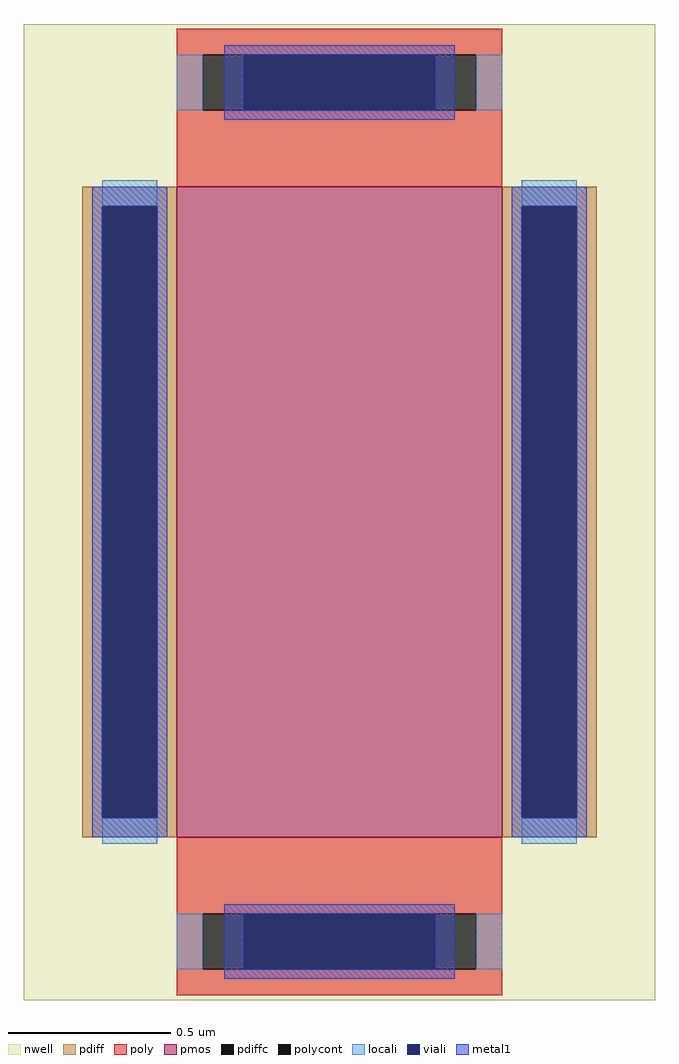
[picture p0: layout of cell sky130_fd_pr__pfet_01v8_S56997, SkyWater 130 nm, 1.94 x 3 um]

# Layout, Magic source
magic
tech sky130A
magscale 1 2
<< nwell >>
rect -194 -300 194 300
<< pmos >>
rect -100 -200 100 200
<< pdiff >>
rect -158 188 -100 200
rect -158 -188 -146 188
rect -112 -188 -100 188
rect -158 -200 -100 -188
rect 100 188 158 200
rect 100 -188 112 188
rect 146 -188 158 188
rect 100 -200 158 -188
<< pdiffc >>
rect -146 -188 -112 188
rect 112 -188 146 188
<< poly >>
rect -100 281 100 297
rect -100 247 -84 281
rect 84 247 100 281
rect -100 200 100 247
rect -100 -247 100 -200
rect -100 -281 -84 -247
rect 84 -281 100 -247
rect -100 -297 100 -281
<< polycont >>
rect -84 247 84 281
rect -84 -281 84 -247
<< locali >>
rect -100 247 -84 281
rect 84 247 100 281
rect -146 188 -112 204
rect -146 -204 -112 -188
rect 112 188 146 204
rect 112 -204 146 -188
rect -100 -281 -84 -247
rect 84 -281 100 -247
<< viali >>
rect -59 247 59 281
rect -146 -188 -112 188
rect 112 -188 146 188
rect -59 -281 59 -247
<< metal1 >>
rect -71 281 71 287
rect -71 247 -59 281
rect 59 247 71 281
rect -71 241 71 247
rect -152 188 -106 200
rect -152 -188 -146 188
rect -112 -188 -106 188
rect -152 -200 -106 -188
rect 106 188 152 200
rect 106 -188 112 188
rect 146 -188 152 188
rect 106 -200 152 -188
rect -71 -247 71 -241
rect -71 -281 -59 -247
rect 59 -281 71 -247
rect -71 -287 71 -281
<< properties >>
string gencell sky130_fd_pr__pfet_01v8
string library sky130
string parameters w 2 l 1 m 1 nf 1 diffcov 100 polycov 100 guard 0 glc 1 grc 1 gtc 1 gbc 1 tbcov 100 rlcov 100 topc 1 botc 1 poverlap 0 doverlap 1 lmin 0.15 wmin 0.42 compatible {sky130_fd_pr__pfet_01v8  sky130_fd_pr__pfet_01v8_lvt sky130_fd_pr__pfet_01v8_hvt  sky130_fd_pr__pfet_g5v0d10v5} full_metal 1 viasrc 100 viadrn 100 viagate 70 viagb 0 viagr 0 viagl 0 viagt 0
<< end >>
